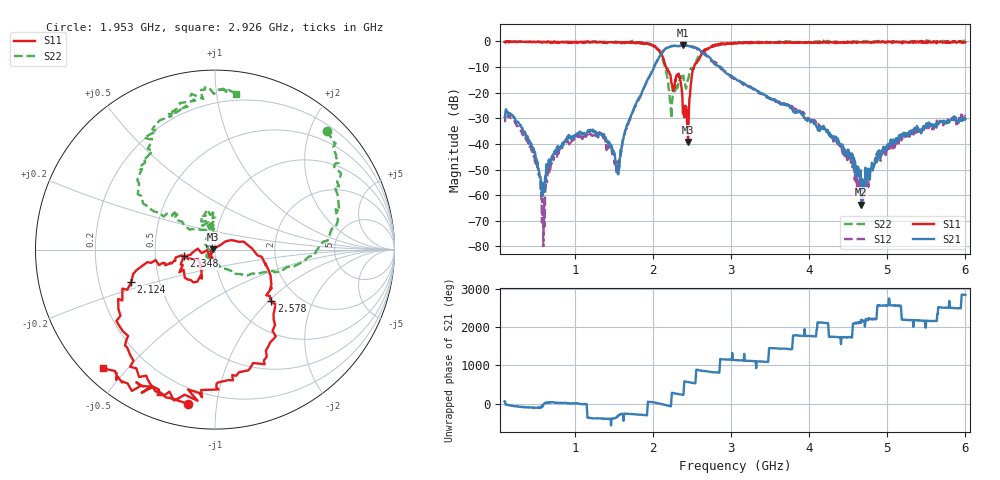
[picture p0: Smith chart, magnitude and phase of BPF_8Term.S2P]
!Created with skrf (http://scikit-rf.org).
# MHz S RI R 50.0
!freq ReS11 ImS11 ReS21 ImS21 ReS12 ImS12 ReS22 ImS22
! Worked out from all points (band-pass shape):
!   1001 points, 100 MHz to 6 GHz, reference 50 ohm
!   highest |S21| = -1.45 dB at 2.383 GHz (marker M1); lowest = -63.7 dB at 4.667 GHz (marker M2)
!   |S21| within 3 dB of the highest: 2.12 GHz to 2.63 GHz (510.3 MHz wide, 21.5 % of centre)
!   lowest |S11| = -39.2 dB at 2.448 GHz (marker M3), VSWR 1.02, Z = 48.9 + j0.245 ohm
!   |S11| at or under -10 dB: 2.167 GHz to 2.525 GHz (357.8 MHz wide, 15.3 % of centre)
!   |S22| runs from -30.0 to 0.4 dB; largest |S21 - S12| = 0.075
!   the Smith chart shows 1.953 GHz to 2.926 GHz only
!   S11 on the Smith chart (normalised r, x): 1.953 GHz: 0.12, -0.83; 2.124 GHz: 0.34, -0.17; 2.348 GHz: 0.70, -0.05; 2.578 GHz: 1.48, -1.03; 2.926 GHz: 0.06, -0.43
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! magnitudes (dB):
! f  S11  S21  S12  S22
! 100 MHz  -0.2  -29.5  -31.0  -0.2
! 436.3 MHz  -0.2  -40.4  -41.2  -0.1
! 589.7 MHz  -0.3  -60.3  -61.5  -0.2
! 737.2 MHz  -0.3  -43.2  -45.2  -0.3
! 1.085 GHz  -0.2  -35.7  -37.5  -0.1
! 1.333 GHz  -0.2  -36.3  -35.9  -0.2
! 1.546 GHz  -0.3  -51.4  -49.2  -0.3
! 1.953 GHz  -1.2  -13.7  -13.9  -0.8
! 2.071 GHz  -3.3  -6.6  -6.8  -3.6
! 2.124 GHz  -6.0  -4.3  -3.9  -7.0
! 2.23 GHz  -14.6  -2.0  -1.9  -27.2
! 2.348 GHz  -15.0  -1.8  -1.7  -13.7
! 2.383 GHz  -28.2  -1.4  -1.6  -13.4
! 2.448 GHz  -39.2  -1.7  -1.7  -14.9
! 2.513 GHz  -10.6  -2.3  -2.0  -11.0
! 2.578 GHz  -7.5  -2.8  -3.2  -5.9
! 2.926 GHz  -0.8  -12.1  -11.7  -1.1
! 3.05 GHz  -0.7  -14.4  -14.5  -0.4
! 4.035 GHz  -0.4  -30.6  -30.5  -0.1
! 4.667 GHz  -0.4  -63.7  -57.2  0.0
! 5.021 GHz  -0.2  -40.3  -41.1  -0.1
! 6 GHz  -0.3  -30.4  -29.2  0.4
